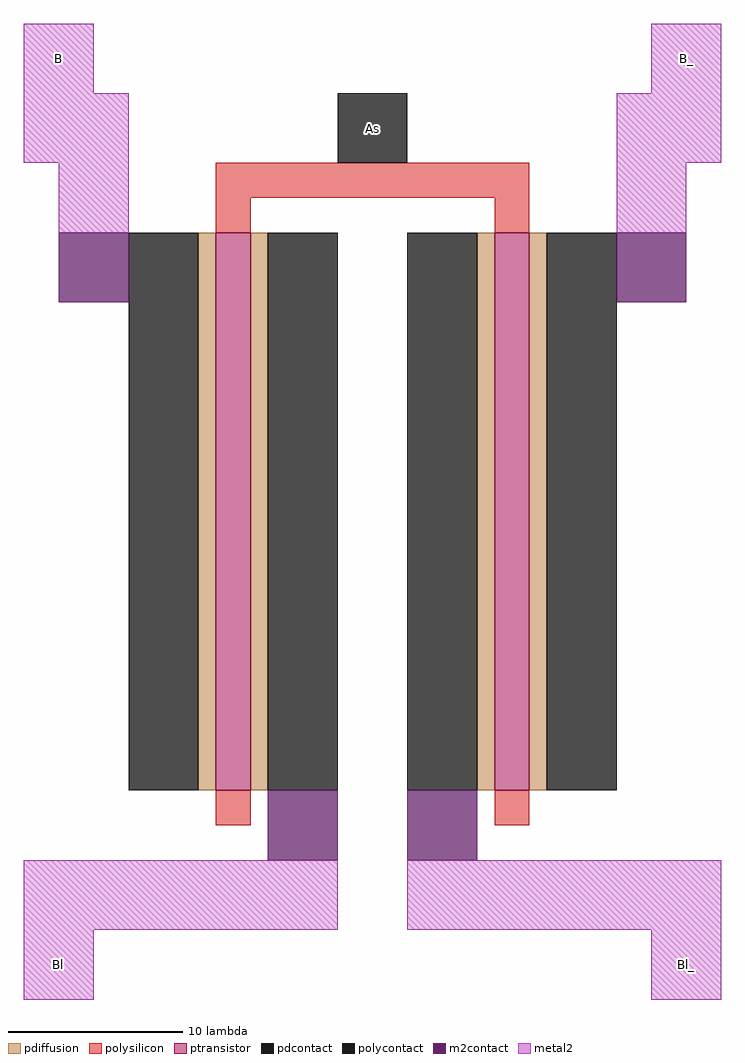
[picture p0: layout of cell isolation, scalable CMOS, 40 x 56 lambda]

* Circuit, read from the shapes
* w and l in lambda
.subckt isolation As B B_ Bl Bl_
M1 Bl As B NWELL pfet w=32 l=2
M2 B_ As Bl_ NWELL pfet w=32 l=2
.ends

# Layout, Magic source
magic
tech scmos
<< ptransistor >>
rect -9 17 -7 49
rect 7 17 9 49
<< pdiffusion >>
rect -10 17 -9 49
rect -7 17 -6 49
rect 6 17 7 49
rect 9 17 10 49
<< pdcontact >>
rect -14 17 -10 49
rect -6 17 -2 49
rect 2 17 6 49
rect 10 17 14 49
<< polysilicon >>
rect -9 51 9 53
rect -9 49 -7 51
rect 7 49 9 51
rect -9 15 -7 17
rect 7 15 9 17
<< polycontact >>
rect -2 53 2 57
<< m2contact >>
rect -18 45 -14 49
rect -6 13 -2 17
rect 14 45 18 49
rect 2 13 6 17
<< metal2 >>
rect -20 57 -16 61
rect 16 57 20 61
rect -20 53 -14 57
rect -18 49 -14 53
rect 14 53 20 57
rect 14 49 18 53
rect -20 9 -2 13
rect 2 9 20 13
rect -20 5 -16 9
rect 16 5 20 9
<< labels >>
rlabel metal2 -18 59 -18 59 1 B
rlabel metal2 18 59 18 59 1 B_
rlabel metal2 -18 7 -18 7 1 Bl
rlabel metal2 18 7 18 7 1 Bl_
rlabel polycontact 0 55 0 55 1 As
<< end >>
